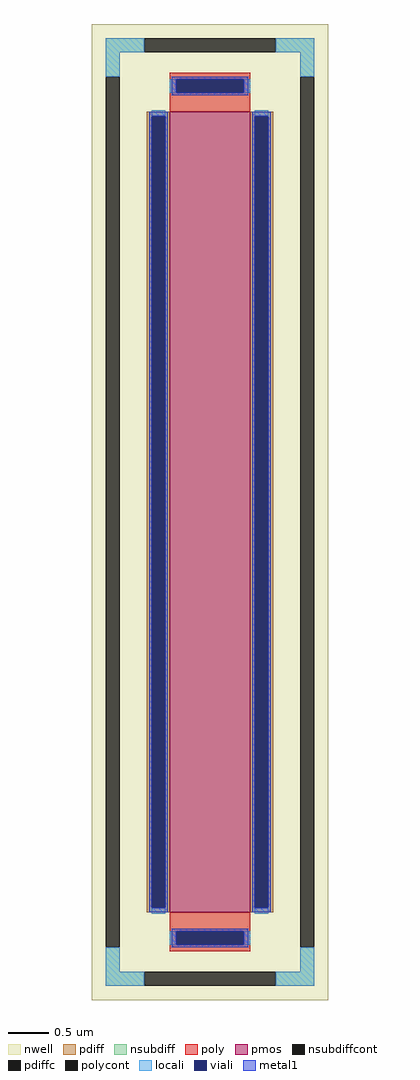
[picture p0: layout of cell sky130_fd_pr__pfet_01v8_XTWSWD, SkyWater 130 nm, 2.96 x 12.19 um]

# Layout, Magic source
magic
tech sky130B
magscale 1 2
<< nwell >>
rect -296 -1219 296 1219
<< pmos >>
rect -100 -1000 100 1000
<< pdiff >>
rect -158 988 -100 1000
rect -158 -988 -146 988
rect -112 -988 -100 988
rect -158 -1000 -100 -988
rect 100 988 158 1000
rect 100 -988 112 988
rect 146 -988 158 988
rect 100 -1000 158 -988
<< pdiffc >>
rect -146 -988 -112 988
rect 112 -988 146 988
<< nsubdiff >>
rect -260 1149 -164 1183
rect 164 1149 260 1183
rect -260 1087 -226 1149
rect 226 1087 260 1149
rect -260 -1149 -226 -1087
rect 226 -1149 260 -1087
rect -260 -1183 -164 -1149
rect 164 -1183 260 -1149
<< nsubdiffcont >>
rect -164 1149 164 1183
rect -260 -1087 -226 1087
rect 226 -1087 260 1087
rect -164 -1183 164 -1149
<< poly >>
rect -100 1081 100 1097
rect -100 1047 -84 1081
rect 84 1047 100 1081
rect -100 1000 100 1047
rect -100 -1047 100 -1000
rect -100 -1081 -84 -1047
rect 84 -1081 100 -1047
rect -100 -1097 100 -1081
<< polycont >>
rect -84 1047 84 1081
rect -84 -1081 84 -1047
<< locali >>
rect -260 1149 -164 1183
rect 164 1149 260 1183
rect -260 1087 -226 1149
rect 226 1087 260 1149
rect -100 1047 -84 1081
rect 84 1047 100 1081
rect -146 988 -112 1004
rect -146 -1004 -112 -988
rect 112 988 146 1004
rect 112 -1004 146 -988
rect -100 -1081 -84 -1047
rect 84 -1081 100 -1047
rect -260 -1149 -226 -1087
rect 226 -1149 260 -1087
rect -260 -1183 -164 -1149
rect 164 -1183 260 -1149
<< viali >>
rect -84 1047 84 1081
rect -146 -988 -112 988
rect 112 -988 146 988
rect -84 -1081 84 -1047
<< metal1 >>
rect -96 1081 96 1087
rect -96 1047 -84 1081
rect 84 1047 96 1081
rect -96 1041 96 1047
rect -152 988 -106 1000
rect -152 -988 -146 988
rect -112 -988 -106 988
rect -152 -1000 -106 -988
rect 106 988 152 1000
rect 106 -988 112 988
rect 146 -988 152 988
rect 106 -1000 152 -988
rect -96 -1047 96 -1041
rect -96 -1081 -84 -1047
rect 84 -1081 96 -1047
rect -96 -1087 96 -1081
<< properties >>
string FIXED_BBOX -243 -1166 243 1166
string gencell sky130_fd_pr__pfet_01v8
string library sky130
string parameters w 10 l 1 m 1 nf 1 diffcov 100 polycov 100 guard 1 glc 1 grc 1 gtc 1 gbc 1 tbcov 100 rlcov 100 topc 1 botc 1 poverlap 0 doverlap 1 lmin 0.15 wmin 0.42 compatible {sky130_fd_pr__pfet_01v8  sky130_fd_pr__pfet_01v8_lvt sky130_fd_pr__pfet_01v8_hvt  sky130_fd_pr__pfet_g5v0d10v5} full_metal 1 viasrc 100 viadrn 100 viagate 100 viagb 0 viagr 0 viagl 0 viagt 0
<< end >>
